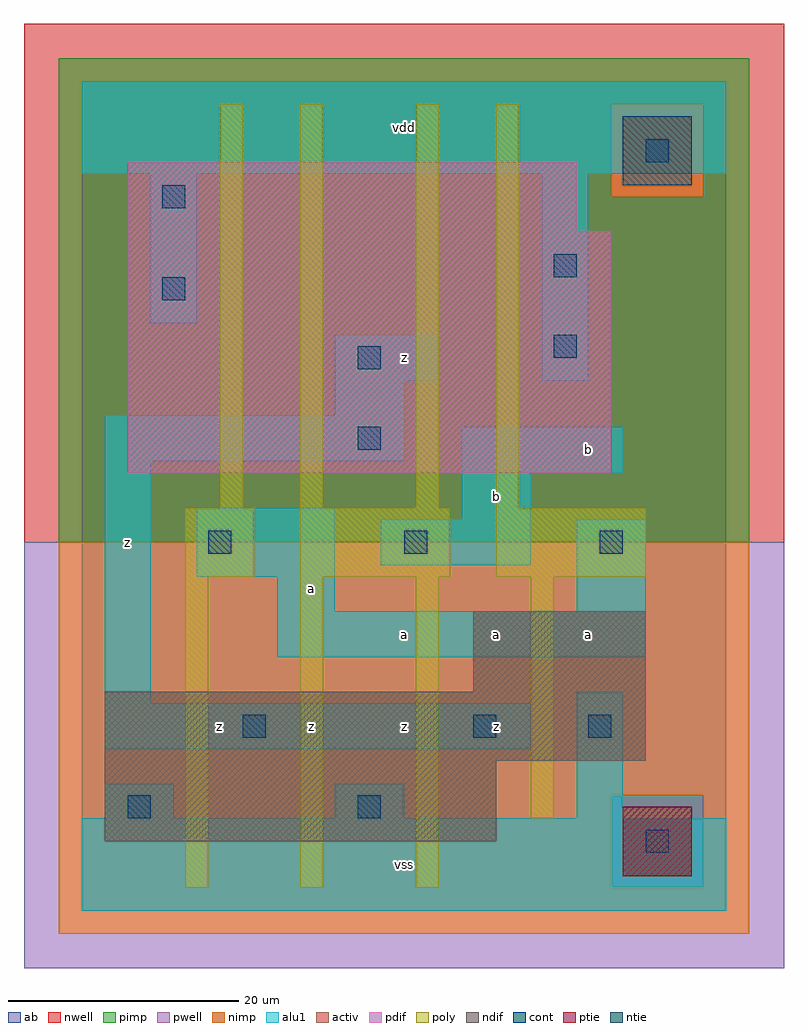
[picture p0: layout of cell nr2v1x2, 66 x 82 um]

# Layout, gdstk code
import gdstk
lib = gdstk.Library(unit=1e-6, precision=1e-09)
def R(c, l, rs):  # rectangles x0, y0, x1, y1
    for r in rs: c.add(gdstk.rectangle(r[:2], r[2:], *l))
def A(c, l, x, y, w, h, nx, ny, dx, dy):  # array of equal rectangles
    R(c, l, [(x+i*dx, y+j*dy, x+i*dx+w, y+j*dy+h) for i in range(nx) for j in range(ny)])
ndif = (3, 0)
pdif = (4, 0)
ntie = (5, 0)
ptie = (6, 0)
cont = (25, 0)
pwell = (41, 0)
nwell = (42, 0)
activ = (43, 0)
pimp = (44, 0)
nimp = (45, 0)
poly = (46, 0)
alu1 = (49, 0)
ab = (63, 0)

nr2v1x2 = lib.new_cell('nr2v1x2')
R(nr2v1x2, ndif, [(2,6,36,13), (2,13,49,19), (34,19,49,26)])
R(nr2v1x2, pdif, [(4,38,46,59), (4,59,43,65)])
R(nr2v1x2, ntie, [(47,63,53,69)])
R(nr2v1x2, ptie, [(47,3,53,9)])
A(nr2v1x2, cont, 11, 31, 2, 2, 3, 1, 17, 0)
R(nr2v1x2, cont, [(49,5,51,7), (4,8,6,10), (24,8,26,10), (14,15,16,17), (34,15,36,17), (44,15,46,17), (24,40,26,42), (24,47,26,49), (41,48,43,50), (7,53,9,55), (41,55,43,57), (7,61,9,63), (49,65,51,67)])
R(nr2v1x2, pwell, [(-5,-5,61,32)])
R(nr2v1x2, nwell, [(-5,32,61,77)])
R(nr2v1x2, activ, [(47,3,53,9), (2,6,36,13), (2,13,49,19), (34,19,49,26), (4,38,46,59), (4,59,43,65), (47,63,53,69)])
R(nr2v1x2, pimp, [(46,2,54,10), (-2,32,58,62), (-2,62,46,70), (54,62,58,70), (-2,70,58,74)])
R(nr2v1x2, nimp, [(-2,-2,58,2), (-2,2,46,10), (54,2,58,10), (-2,10,58,32), (46,62,54,70)])
A(nr2v1x2, poly, 9, 2, 2, 27, 3, 1, 10, 0)
R(nr2v1x2, poly, [(39,8,41,29), (9,29,15,35), (19,29,32,35), (36,29,49,35), (12,35,14,70), (19,35,21,70), (29,35,31,70), (36,35,38,70)])
R(nr2v1x2, alu1, [(0,0,56,8), (2,8,8,11), (22,8,28,11), (43,8,47,19), (2,14,39,18), (2,18,6,39), (17,22,49,26), (17,26,22,29), (43,26,49,34), (10,29,22,35), (26,30,39,34), (33,34,39,38), (33,38,47,42), (2,39,28,43), (22,43,28,46), (22,46,31,50), (40,46,44,64), (6,51,10,64), (0,64,56,72)])
R(nr2v1x2, ab, [(0,0,56,72)])
nr2v1x2.add(gdstk.Label('z', (4,32), layer=49, texttype=0))
nr2v1x2.add(gdstk.Label('z', (20,16), layer=49, texttype=0))
nr2v1x2.add(gdstk.Label('z', (12,16), layer=49, texttype=0))
nr2v1x2.add(gdstk.Label('a', (20,28), layer=49, texttype=0))
nr2v1x2.add(gdstk.Label('vss', (28,4), layer=49, texttype=0))
nr2v1x2.add(gdstk.Label('z', (36,16), layer=49, texttype=0))
nr2v1x2.add(gdstk.Label('z', (28,16), layer=49, texttype=0))
nr2v1x2.add(gdstk.Label('a', (28,24), layer=49, texttype=0))
nr2v1x2.add(gdstk.Label('a', (36,24), layer=49, texttype=0))
nr2v1x2.add(gdstk.Label('b', (36,36), layer=49, texttype=0))
nr2v1x2.add(gdstk.Label('z', (28,48), layer=49, texttype=0))
nr2v1x2.add(gdstk.Label('vdd', (28,68), layer=49, texttype=0))
nr2v1x2.add(gdstk.Label('a', (44,24), layer=49, texttype=0))
nr2v1x2.add(gdstk.Label('b', (44,40), layer=49, texttype=0))

lib.write_gds('nr2v1x2.gds')
